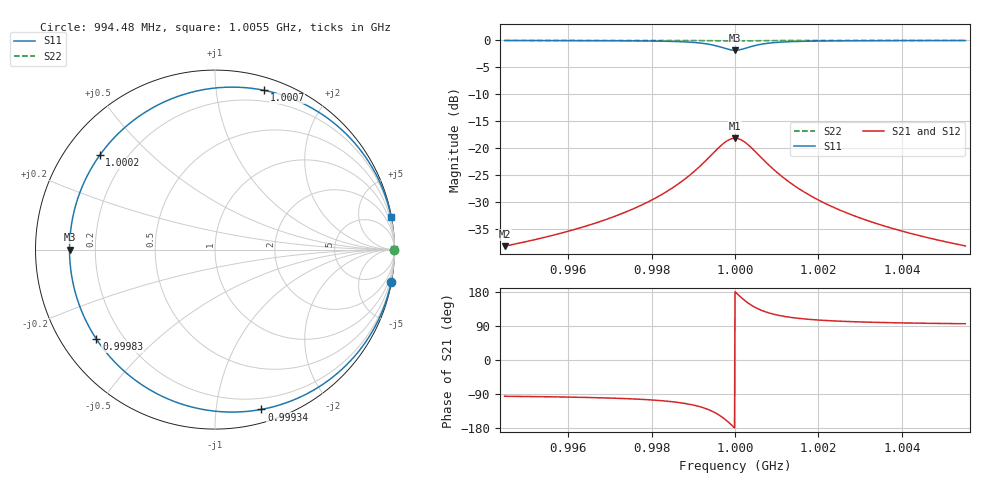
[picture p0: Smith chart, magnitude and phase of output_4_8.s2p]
! File generated for n1 = 4, n2 = 8
! b1 = 10.000000
! b2 = 0.046416
! Q0 = 10000.000000
! f0 = 1000000000.000000
! n = 1001
! rel_span = 10.000000
# Hz S RI R 50
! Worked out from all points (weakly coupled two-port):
!   1001 points, 994.48 MHz to 1.0055 GHz, reference 50 ohm
!   highest |S21| = -18.18 dB at 1 GHz (marker M1); lowest = -38.2 dB at 994.48 MHz (marker M2)
!   lowest |S11| = -1.8 dB at 1 GHz (marker M3), VSWR 9.56, Z = 5.23 + j0 ohm
!   |S11| at or under -10 dB: nowhere
!   |S22| runs from -0.1 to 0.0 dB; largest |S21 - S12| = 0
!   S11 on the Smith chart (normalised r, x): 994.48 MHz: 0, -11; 999.34 MHz: 0.10, -1.33; 999.83 MHz: 0.10, -0.33; 1.0002 GHz: 0.10, +0.35; 1.0007 GHz: 0.10, +1.35; 1.0055 GHz: 0, +11
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9.944768e8  0.9822 -0.1788  -0.00121 -0.0122  -0.00121 -0.0122  0.9999 -0.00083
9.963215e8  0.9602 -0.2654  -0.00271 -0.0181  -0.00271 -0.0181  0.9998 -0.00123
9.97371e8  0.9237 -0.3638  -0.0052 -0.0248  -0.0052 -0.0248  0.9996 -0.00169
9.981663e8  0.8497 -0.4996  -0.0102 -0.034  -0.0102 -0.034  0.9993 -0.00232
9.988733e8  0.6495 -0.7153  -0.0239 -0.0487  -0.0239 -0.0487  0.9984 -0.00332
9.991273e8  0.4825 -0.818  -0.0353 -0.0557  -0.0353 -0.0557  0.9976 -0.0038
9.993372e8  0.2583 -0.8904  -0.0505 -0.0607  -0.0505 -0.0607  0.9966 -0.00413
9.996134e8  -0.215 -0.8506  -0.0828 -0.058  -0.0828 -0.058  0.9944 -0.00395
9.997238e8  -0.4484 -0.7243  -0.0987 -0.0493  -0.0987 -0.0493  0.9933 -0.00336
9.998343e8  -0.661 -0.4983  -0.1132 -0.034  -0.1132 -0.034  0.9923 -0.00231
1e9  -0.8105 0  -0.1234 0  -0.1234 0  0.9916 0
1.000088e9  -0.7654 0.2824  -0.1203 0.0192  -0.1203 0.0192  0.9918 0.00131
1.000177e9  -0.6424 0.5255  -0.1119 0.0358  -0.1119 0.0358  0.9924 0.00244
1.000276e9  -0.4485 0.7242  -0.0987 0.0493  -0.0987 0.0493  0.9933 0.00336
1.000387e9  -0.2153 0.8505  -0.0828 0.0579  -0.0828 0.0579  0.9944 0.00395
1.000508e9  0.0192 0.9021  -0.0668 0.0615  -0.0668 0.0615  0.9954 0.00419
1.000674e9  0.2721 0.8877  -0.0496 0.0605  -0.0496 0.0605  0.9966 0.00412
1.000884e9  0.4911 0.8139  -0.0347 0.0554  -0.0347 0.0554  0.9976 0.00378
1.001138e9  0.6544 0.7115  -0.0235 0.0485  -0.0235 0.0485  0.9984 0.0033
1.001845e9  0.8508 0.4979  -0.0102 0.0339  -0.0102 0.0339  0.9993 0.00231
1.00369e9  0.9602 0.2656  -0.00271 0.0181  -0.00271 0.0181  0.9998 0.00123
1.005523e9  0.982 0.1797  -0.00123 0.0122  -0.00123 0.0122  0.9999 0.000834
